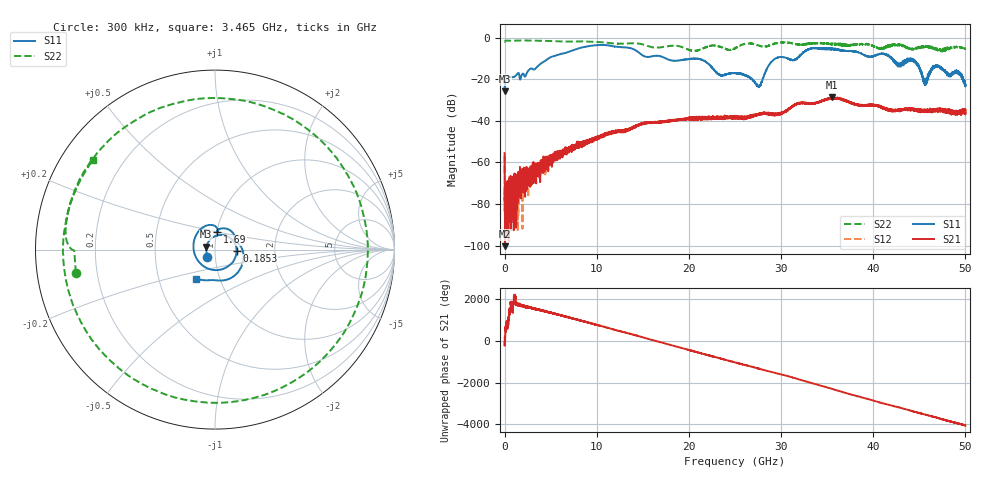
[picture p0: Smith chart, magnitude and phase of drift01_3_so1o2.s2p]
!Created with skrf (http://scikit-rf.org).
# Hz S RI R 50.0
!freq ReS11 ImS11 ReS21 ImS21 ReS12 ImS12 ReS22 ImS22
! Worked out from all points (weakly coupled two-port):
!   10001 points, 300 kHz to 50 GHz, reference 50 ohm
!   highest |S21| = -28.75 dB at 35.52 GHz (marker M1); lowest = -100.2 dB at 35.3 MHz (marker M2)
!   lowest |S11| = -25.8 dB at 5.3 MHz (marker M3), VSWR 1.11, Z = 45.3 + j1.42 ohm
!   |S11| at or under -10 dB: start of sweep to 4.763 GHz; 20.72 GHz to 29.41 GHz (8.697 GHz wide, 34.7 % of centre); 44.05 GHz to end of sweep (the widest 3 of 11)
!   |S22| runs from -6.7 to -1.4 dB; largest |S21 - S12| = 0.004
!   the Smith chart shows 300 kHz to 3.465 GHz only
!   S11 on the Smith chart (normalised r, x): 300 kHz: 0.91, -0.08; 185.3 MHz: 1.27, -0.02; 1.69 GHz: 1.00, +0.20; 3.465 GHz: 0.77, -0.26
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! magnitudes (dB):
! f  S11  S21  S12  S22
! 300 kHz  -24.0  -55.5  -56.7  -2.1
! 5.3 MHz  -25.8  -70.4  -78.2  -2.1
! 35.3 MHz  -22.2  -100.2  -73.6  -1.8
! 185.3 MHz  -18.4  -93.9  -71.2  -1.5
! 310.3 MHz  -18.3  -75.3  -72.2  -1.4
! 1.69 GHz  -20.2  -67.6  -71.5  -1.4
! 3.465 GHz  -14.3  -62.7  -66.4  -1.5
! 8.335 GHz  -4.8  -51.7  -51.7  -1.8
! 16.67 GHz  -8.7  -40.7  -40.7  -4.8
! 25 GHz  -17.0  -38.5  -38.5  -5.2
! 27.58 GHz  -23.7  -36.5  -36.7  -3.9
! 29.27 GHz  -10.4  -36.9  -36.8  -2.9
! 31.45 GHz  -10.8  -32.4  -32.5  -3.0
! 33.34 GHz  -5.2  -31.6  -31.6  -2.7
! 35.52 GHz  -5.5  -28.7  -29.1  -3.3
! 41.67 GHz  -8.9  -34.9  -34.9  -4.5
! 42.75 GHz  -12.8  -34.8  -35.0  -3.3
! 44.4 GHz  -11.2  -34.5  -34.8  -5.3
! 45.63 GHz  -21.9  -35.0  -34.9  -4.3
! 46.96 GHz  -13.7  -34.5  -34.5  -5.8
! 49.22 GHz  -16.5  -35.5  -36.0  -4.5
! 50 GHz  -22.6  -36.1  -35.5  -5.4
